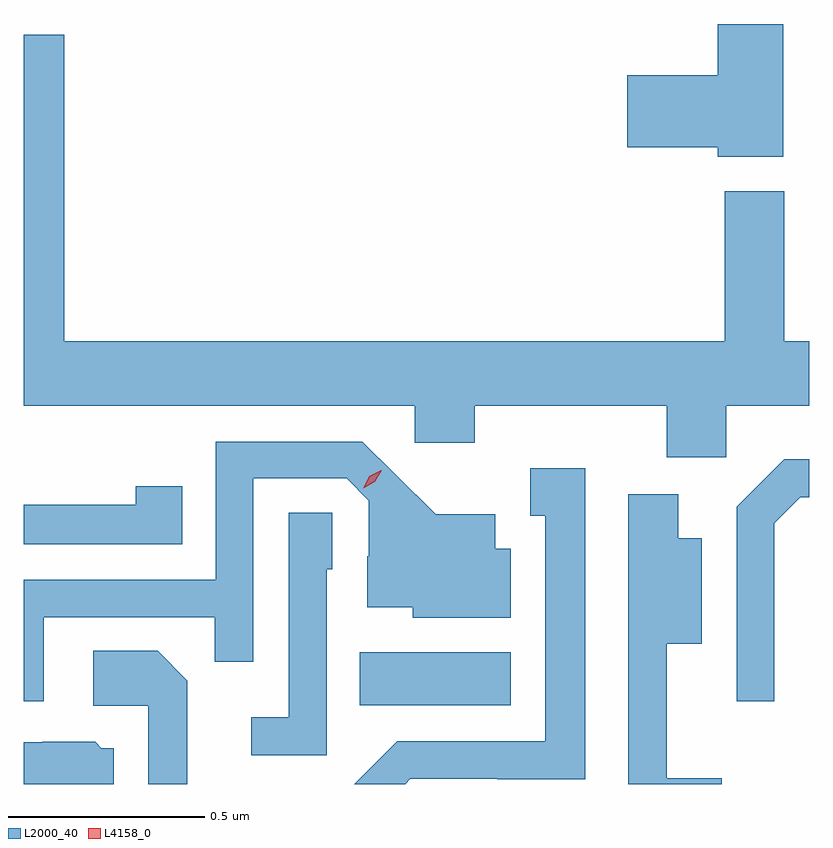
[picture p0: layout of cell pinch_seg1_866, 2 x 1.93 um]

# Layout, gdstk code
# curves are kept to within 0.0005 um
import gdstk
lib = gdstk.Library(unit=1e-6, precision=1e-09)
def R(c, l, rs):  # rectangles x0, y0, x1, y1
    for r in rs: c.add(gdstk.rectangle(r[:2], r[2:], *l))
def P(c, l, *ps):  # polygons
    for p in ps: c.add(gdstk.Polygon(p, *l))
L2000_40 = (2000, 40)
L4158_0 = (4158, 0)

pinch_seg1_866 = lib.new_cell('pinch_seg1_866')
R(pinch_seg1_866, L2000_40, [(482.578,577.61,482.962,577.744)])
P(pinch_seg1_866, L2000_40, [(483.655,579.343),(483.488,579.343),(483.488,579.212),(483.258,579.212),(483.258,579.029),(483.488,579.029),(483.488,579.005),(483.655,579.005)],
  [(483.51,578.372),(483.722,578.372),(483.722,578.536),(483.658,578.536),(483.658,578.917),(483.506,578.917),(483.506,578.536),(481.826,578.536),(481.826,579.316),(481.722,579.316),(481.722,578.372),(482.718,578.372),(482.718,578.277),(482.87,578.277),(482.87,578.372),(483.359,578.372),(483.359,578.241),(483.51,578.241)],
  [(481.773,577.833),(482.209,577.833),(482.209,577.72),(482.307,577.72),(482.307,578.187),(482.544,578.187),(482.601,578.13),(482.601,577.988),(482.597,577.988),(482.597,577.859),(482.712,577.859),(482.712,577.832),(482.962,577.832),(482.962,578.008),(482.923,578.008),(482.923,578.095),(482.771,578.095),(482.584,578.28),(482.211,578.28),(482.211,577.929),(481.722,577.929),(481.722,577.62),(481.773,577.62)],
  [(483.633,578.073),(483.699,578.139),(483.722,578.139),(483.722,578.236),(483.658,578.236),(483.537,578.115),(483.537,577.62),(483.633,577.62)],
  [(482.706,577.422),(482.928,577.422),(482.928,577.421),(483.151,577.421),(483.151,578.212),(483.011,578.212),(483.011,578.091),(483.05,578.091),(483.05,577.518),(482.673,577.518),(482.564,577.409),(482.693,577.409)],
  [(482.126,578.167),(482.008,578.167),(482.008,578.12),(481.722,578.12),(481.722,578.019),(482.126,578.019)],
  [(483.499,577.423),(483.359,577.423),(483.359,577.766),(483.448,577.766),(483.448,578.035),(483.388,578.035),(483.388,578.146),(483.261,578.146),(483.261,577.409),(483.499,577.409)],
  [(482.493,577.956),(482.508,577.956),(482.508,578.099),(482.397,578.099),(482.397,577.579),(482.301,577.579),(482.301,577.482),(482.493,577.482)],
  [(482.139,577.672),(482.063,577.748),(481.899,577.748),(481.899,577.608),(482.04,577.608),(482.04,577.409),(482.139,577.409)],
  [(481.951,577.5),(481.92,577.5),(481.904,577.516),(481.77,577.516),(481.77,577.515),(481.722,577.515),(481.722,577.409),(481.951,577.409)])
P(pinch_seg1_866, L4158_0, [(482.586,578.162),(482.586,578.162),(482.602,578.192),(482.632,578.208),(482.633,578.208),(482.633,578.207),(482.616,578.178),(482.586,578.162)])

lib.write_gds('pinch_seg1_866.gds')
